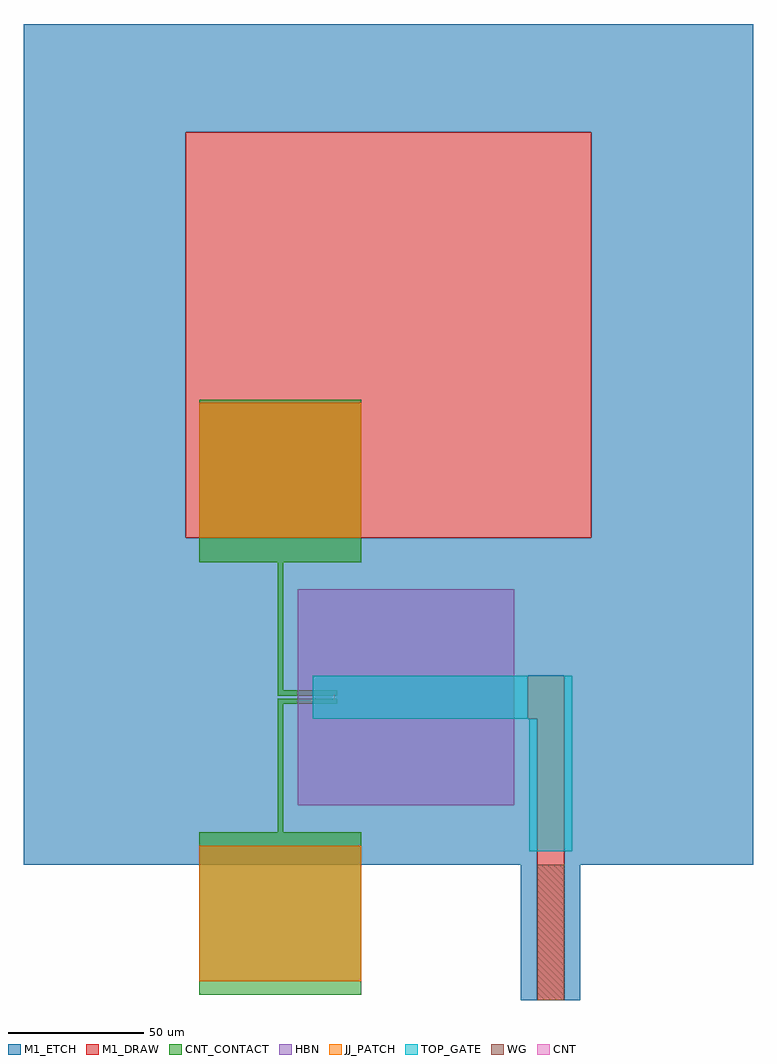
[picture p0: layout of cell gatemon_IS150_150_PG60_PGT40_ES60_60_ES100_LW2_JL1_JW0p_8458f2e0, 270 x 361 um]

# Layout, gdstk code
import gdstk
lib = gdstk.Library(unit=1e-6, precision=1e-09)
def R(c, l, rs):  # rectangles x0, y0, x1, y1
    for r in rs: c.add(gdstk.rectangle(r[:2], r[2:], *l))
def P(c, l, *ps):  # polygons
    for p in ps: c.add(gdstk.Polygon(p, *l))
M1_DRAW = (1, 0)
M1_ETCH = (1, 1)
JJ_PATCH = (20, 1)
CNT_CONTACT = (21, 0)
TOP_GATE = (22, 0)
HBN = (23, 0)
CNT = (24, 0)
WG = (102, 0)

gatemon_is150_150_pg60_p = lib.new_cell('gatemon_IS150_150_PG60_PGT40_ES60_60_ES100_LW2_JL1_JW0p_8458f2e0')
R(gatemon_is150_150_pg60_p, M1_DRAW, [(55,-246,65,-196), (55,-196,65,-126), (51.5,-142,65,-126), (-75,-75,75,75)])
R(gatemon_is150_150_pg60_p, M1_ETCH, [(49,-246,55,-196), (65,-246,71,-196)])
P(gatemon_is150_150_pg60_p, M1_ETCH, [(-135,-196),(-135,75),(-75,75),(-75,-75),(75,-75),(75,75),(-135,75),(-135,115),(135,115),(135,-196),(65,-196),(65,-126),(51.5,-126),(51.5,-142),(55,-142),(55,-196)])
R(gatemon_is150_150_pg60_p, JJ_PATCH, [(-70,-239,-10,-189), (-70,-75,-10,-25)])
R(gatemon_is150_150_pg60_p, CNT_CONTACT, [(-70,-244,-10,-184), (-41,-184,-39,-134.5), (-41,-136.5,-19,-134.5), (-41,-133.5,-39,-84), (-41,-133.5,-19,-131.5), (-70,-84,-10,-24)])
R(gatemon_is150_150_pg60_p, TOP_GATE, [(52,-191,68,-126), (-28,-142,68,-126)])
R(gatemon_is150_150_pg60_p, HBN, [(-33.5,-174,46.5,-94)])
R(gatemon_is150_150_pg60_p, WG, [(55,-246,65,-196)])
gatemon_is150_150_pg60_p.add(gdstk.FlexPath([(-20,-135),(-20,-133)], 0.002, ends="flush", simple_path=True, layer=24, datatype=0))  # CNT

lib.write_gds('gatemon_IS150_150_PG60_PGT40_ES60_60_ES100_LW2_JL1_JW0p_8458f2e0.gds')
